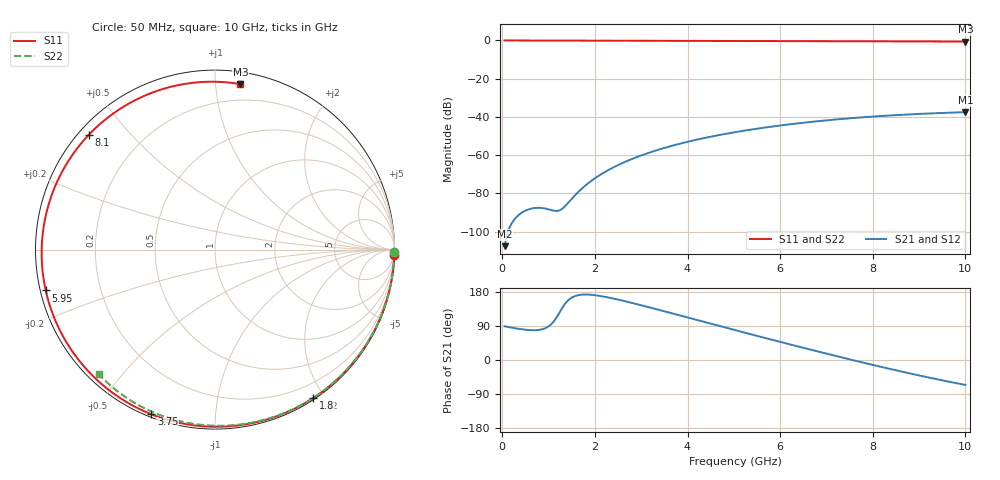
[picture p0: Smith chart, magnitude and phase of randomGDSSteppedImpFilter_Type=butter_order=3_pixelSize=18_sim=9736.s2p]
! freq	dB(S11)	phase(S11)	dB(S12)	phase(S12)
!  dB(S21)	phase(S21)	dB(S22)	phase(S22)
!S-par simulation data
#  GHz  S  DB  R 50
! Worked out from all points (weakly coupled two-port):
!   200 points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, 50 MHz to 10 GHz, reference 50 ohm
!   highest |S21| = -37.53 dB at 10 GHz (marker M1); lowest = -107.7 dB at 50 MHz (marker M2)
!   lowest |S11| = -0.6 dB at 10 GHz (marker M3), VSWR 28.70, Z = 4.1 + j58.1 ohm
!   |S11| at or under -10 dB: nowhere
!   |S22| runs from -0.4 to 0.0 dB; largest |S21 - S12| = 0
!   S11 on the Smith chart (normalised r, x): 50 MHz: 0, -70; 1.8 GHz: 0.02, -1.86; 3.75 GHz: 0.01, -0.69; 5.95 GHz: 0.02, -0.12; 8.1 GHz: 0.03, +0.39; 10 GHz: 0.08, +1.16
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0.05  -0.00 -1.6  -107.67 89.0  -107.67 89.0  -0.00 -0.8
0.4  -0.02 -12.9  -90.48 81.4  -90.48 81.4  -0.01 -6.1
0.8  -0.03 -25.6  -87.58 79.5  -87.58 79.5  -0.02 -12.2
1.6  -0.06 -50.5  -80.29 169.9  -80.29 169.9  -0.03 -24.3
1.75  -0.07 -55.0  -76.84 172.7  -76.84 172.7  -0.03 -26.5
1.8  -0.07 -56.5  -75.80 172.8  -75.80 172.8  -0.03 -27.3
2.1  -0.08 -65.4  -70.54 169.2  -70.54 169.2  -0.04 -31.7
2.45  -0.09 -75.5  -65.81 160.8  -65.81 160.8  -0.05 -36.8
2.9  -0.11 -88.2  -61.09 147.6  -61.09 147.6  -0.06 -43.4
3.4  -0.13 -101.8  -56.97 131.8  -56.97 131.8  -0.07 -50.5
3.75  -0.14 -111.1  -54.57 120.4  -54.57 120.4  -0.07 -55.4
4.35  -0.17 -126.6  -51.13 100.8  -51.13 100.8  -0.09 -63.7
5.05  -0.21 -144.1  -47.91 78.1  -47.91 78.1  -0.11 -73.0
5.95  -0.26 -166.4  -44.66 49.4  -44.66 49.4  -0.15 -84.7
6.7  -0.32 174.8  -42.54 26.0  -42.54 26.0  -0.18 -94.1
7.4  -0.38 156.7  -40.94 4.7  -40.94 4.7  -0.22 -102.7
8.1  -0.44 137.8  -39.67 -15.8  -39.67 -15.8  -0.27 -111.0
8.35  -0.46 130.8  -39.29 -23.0  -39.29 -23.0  -0.29 -114.0
8.8  -0.50 117.9  -38.69 -35.4  -38.69 -35.4  -0.33 -119.2
9.2  -0.54 106.0  -38.24 -46.0  -38.24 -46.0  -0.36 -123.9
9.6  -0.57 93.8  -37.85 -56.2  -37.85 -56.2  -0.40 -128.5
10  -0.61 81.2  -37.53 -65.8  -37.53 -65.8  -0.45 -133.1
